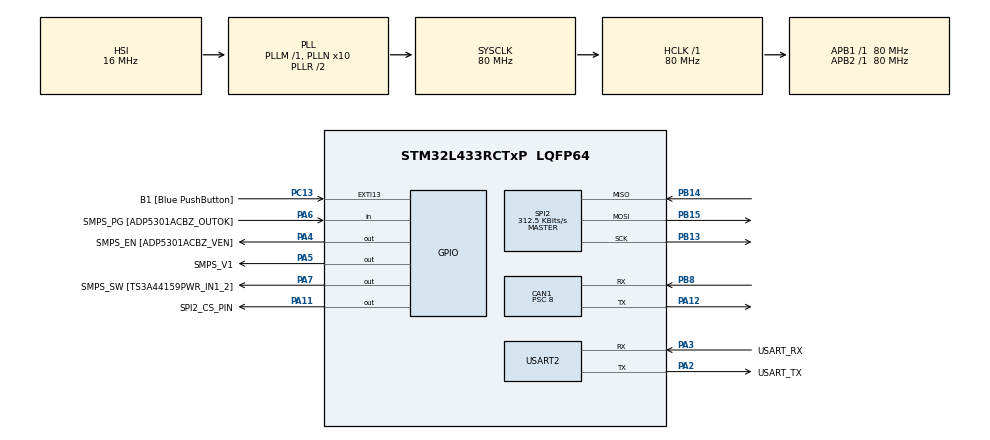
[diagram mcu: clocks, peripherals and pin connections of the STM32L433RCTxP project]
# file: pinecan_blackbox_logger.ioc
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CAN1.ABOM=ENABLE
CAN1.BS1=CAN_BS1_7TQ
CAN1.BS2=CAN_BS2_2TQ
CAN1.CalculateBaudRate=1000000
CAN1.CalculateTimeBit=1000
CAN1.CalculateTimeQuantum=100.0
CAN1.NART=ENABLE
CAN1.Prescaler=8
FATFS._FS_EXFAT=1
FATFS._FS_TINY=1
FATFS._USE_LFN=2
Mcu.Family=STM32L4
Mcu.Name=STM32L433RCTxP
Mcu.Package=LQFP64
NVIC.CAN1_RX0_IRQn=true\:0\:0\:false\:false\:true\:true\:true\:true
NVIC.PriorityGroup=NVIC_PRIORITYGROUP_4
PA11.GPIO_Label=SPI2_CS_PIN
PA11.Signal=GPIO_Output
PA12.Mode=CAN_Activate
PA12.Signal=CAN1_TX
PA13\ (JTMS-SWDIO).GPIO_Label=TMS
PA13\ (JTMS-SWDIO).Mode=Serial_Wire
PA13\ (JTMS-SWDIO).Signal=SYS_JTMS-SWDIO
PA14\ (JTCK-SWCLK).GPIO_Label=TCK
PA14\ (JTCK-SWCLK).Mode=Serial_Wire
PA14\ (JTCK-SWCLK).Signal=SYS_JTCK-SWCLK
PA2.GPIO_Label=USART_TX
PA2.GPIO_Mode=GPIO_MODE_AF_PP
PA2.GPIO_PuPd=GPIO_NOPULL
PA2.GPIO_Speed=GPIO_SPEED_FREQ_VERY_HIGH
PA2.Mode=Asynchronous
PA2.Signal=USART2_TX
PA3.GPIO_Label=USART_RX
PA3.GPIO_Mode=GPIO_MODE_AF_PP
PA3.GPIO_PuPd=GPIO_NOPULL
PA3.GPIO_Speed=GPIO_SPEED_FREQ_VERY_HIGH
PA3.Mode=Asynchronous
PA3.Signal=USART2_RX
PA4.GPIO_Label=SMPS_EN [ADP5301ACBZ_VEN]
PA4.Signal=GPIO_Output
PA5.GPIO_Label=SMPS_V1
PA5.GPIO_ModeDefaultOutputPP=GPIO_MODE_OUTPUT_PP
PA5.GPIO_PuPd=GPIO_NOPULL
PA5.GPIO_Speed=GPIO_SPEED_FREQ_LOW
PA5.Signal=GPIO_Output
PA6.GPIO_Label=SMPS_PG [ADP5301ACBZ_OUTOK]
PA6.GPIO_PuPd=GPIO_PULLUP
PA6.Signal=GPIO_Input
PA7.GPIO_Label=SMPS_SW [TS3A44159PWR_IN1_2]
PA7.Signal=GPIO_Output
PB13.Mode=Full_Duplex_Master
PB13.Signal=SPI2_SCK
PB14.Mode=Full_Duplex_Master
PB14.Signal=SPI2_MISO
PB15.Mode=Full_Duplex_Master
PB15.Signal=SPI2_MOSI
PB3\ (JTDO-TRACESWO).GPIO_Label=SWO
PB3\ (JTDO-TRACESWO).Signal=SYS_JTDO-SWO
PB8.Mode=CAN_Activate
PB8.Signal=CAN1_RX
PC13.GPIO_Label=B1 [Blue PushButton]
PC13.GPIO_ModeDefaultEXTI=GPIO_MODE_IT_FALLING
PC13.GPIO_PuPd=GPIO_NOPULL
PC13.Signal=GPXTI13
PC14-OSC32_IN\ (PC14).Mode=LSE-External-Oscillator
PC14-OSC32_IN\ (PC14).Signal=RCC_OSC32_IN
PC15-OSC32_OUT\ (PC15).Mode=LSE-External-Oscillator
PC15-OSC32_OUT\ (PC15).Signal=RCC_OSC32_OUT
PH0-OSC_IN\ (PH0).GPIO_Label=MCO
PH0-OSC_IN\ (PH0).Mode=HSE-External-Clock-Source
PH0-OSC_IN\ (PH0).Signal=RCC_OSC_IN
PH1-OSC_OUT\ (PH1).Signal=RCC_OSC_OUT
ProjectManager.HeapSize=0x200
ProjectManager.StackSize=0x400
ProjectManager.TargetToolchain=CMake
RCC.ADCFreq_Value=64000000
RCC.AHBFreq_Value=80000000
RCC.APB1Freq_Value=80000000
RCC.APB1TimFreq_Value=80000000
RCC.APB2Freq_Value=80000000
RCC.APB2TimFreq_Value=80000000
RCC.CortexFreq_Value=80000000
RCC.HCLKFreq_Value=80000000
RCC.HSE_VALUE=8000000
RCC.HSI48_VALUE=48000000
RCC.HSI_VALUE=16000000
RCC.MSI_VALUE=4000000
RCC.PLLN=10
RCC.PLLSourceVirtual=RCC_PLLSOURCE_HSI
RCC.PREFETCH_ENABLE=1
RCC.SYSCLKFreq_VALUE=80000000
RCC.SYSCLKSource=RCC_SYSCLKSOURCE_PLLCLK
RCC.USBFreq_Value=64000000
RCC.VCOOutputFreq_Value=160000000
SPI2.BaudRatePrescaler=SPI_BAUDRATEPRESCALER_256
SPI2.CalculateBaudRate=312.5 KBits/s
SPI2.DataSize=SPI_DATASIZE_8BIT
SPI2.Direction=SPI_DIRECTION_2LINES
SPI2.Mode=SPI_MODE_MASTER
SPI2.VirtualType=VM_MASTER
USART2.VirtualMode-Asynchronous=VM_ASYNC
VP_FATFS_VS_Generic.Mode=User_defined
board=NUCLEO-L433RC-P

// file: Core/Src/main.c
/* USER CODE BEGIN Header */
/**
  ******************************************************************************
  * @file           : main.c
  * @brief          : Main program body
  ******************************************************************************
  * @attention
  *
  * Copyright (c) 2026 STMicroelectronics.
  * All rights reserved.
  *
  * This software is licensed under terms that can be found in the LICENSE file
  * in the root directory of this software component.
  * If no LICENSE file comes with this software, it is provided AS-IS.
  *
  ******************************************************************************
  */
/* USER CODE END Header */
#include "main.h"
#include "fatfs.h"

/* USER CODE BEGIN Includes */
#include "blackbox_logger.h"
#include "can_receiver.h"
#include <stdint.h>

/* USER CODE END Includes */

/* USER CODE BEGIN PTD */

// FOR FUTURE: Could use g_fault_code to output viewable codes (LED blinks or something like that)
static volatile FaultCode g_fault_code = FAULT_NONE;
static volatile bool g_runtime_fault = false;

typedef enum {
  CAN_TEST_NOT_RUN = 0,
  CAN_TEST_WAITING_FOR_RX,
  CAN_TEST_PASSED,
  CAN_TEST_INIT_FAILED,
  CAN_TEST_TX_FAILED,
  CAN_TEST_RX_TIMEOUT,
  CAN_TEST_RX_OVERRUN,
  CAN_TEST_SD_FAILED,
  BLACKBOX_INIT_FAILED,
} CanTestStatus;

static volatile CanTestStatus g_can_test_status = CAN_TEST_NOT_RUN;

/* USER CODE END PTD */

/* USER CODE BEGIN PD */
#define CAN_TEST_FRAME_COUNT 1000U
#define CAN_TEST_PERIOD_MS 10U
#define CAN_TEST_TOTAL_TIMEOUT_MS (CAN_TEST_FRAME_COUNT * CAN_TEST_PERIOD_MS + 2000U)

/* USER CODE END PD */

CAN_HandleTypeDef hcan1;

SPI_HandleTypeDef hspi2;

UART_HandleTypeDef huart2;

/* USER CODE BEGIN PV */
static volatile uint32_t g_test_tx_count = 0;
static volatile bool g_test_tx_failed = false;
/* USER CODE END PV */

void SystemClock_Config(void);
static void MX_GPIO_Init(void);
static void MX_USART2_UART_Init(void);
static void MX_SPI2_Init(void);
static void MX_CAN1_Init(void);
/* USER CODE BEGIN PFP */
static void Recoverable_ErrorHandler(FaultCode fault);
void HAL_CAN_RxFifo0MsgPendingCallback(CAN_HandleTypeDef *hcan);
/* USER CODE END PFP */

/* USER CODE BEGIN 0 */
static void CanTest_StartTimer(void) {
    __HAL_RCC_TIM7_CLK_ENABLE();

    TIM7->CR1 = 0;
    TIM7->DIER = 0;

    // Current configuration: TIM7 clock = 80 MHz.
    // Divide to a 10 kHz counter, then interrupt every 10 ms.
    TIM7->PSC = 8000U - 1U;
    TIM7->ARR = CAN_TEST_PERIOD_MS * 10U - 1U;
    TIM7->CNT = 0;

    // Load the prescaler, then clear the resulting update flag.
    TIM7->EGR = TIM_EGR_UG;
    TIM7->SR = 0;

    // CAN RX currently has priority 0, so it can interrupt this handler.
    HAL_NVIC_SetPriority(TIM7_IRQn, 1, 0);
    HAL_NVIC_ClearPendingIRQ(TIM7_IRQn);
    HAL_NVIC_EnableIRQ(TIM7_IRQn);

    TIM7->DIER = TIM_DIER_UIE;
    TIM7->CR1 = TIM_CR1_CEN;
}

static void CanTest_StopTimer(void) {
    TIM7->DIER = 0;
    TIM7->CR1 = 0;
    HAL_NVIC_DisableIRQ(TIM7_IRQn);
    HAL_NVIC_ClearPendingIRQ(TIM7_IRQn);
}

void TIM7_IRQHandler(void) {
    if ((TIM7->SR & TIM_SR_UIF) == 0U) {
        return;
    }

    TIM7->SR = 0;

    if (g_test_tx_failed || g_test_tx_count >= CAN_TEST_FRAME_COUNT) {
      TIM7->DIER = 0;
      TIM7->CR1 = 0;
      return;
    }

    // Treat an unavailable mailbox as a test failure:
    // do not silently slow down the requested transmission rate.
    if (HAL_CAN_GetTxMailboxesFreeLevel(&hcan1) == 0U) {
        g_test_tx_failed = true;
        TIM7->DIER = 0;
        TIM7->CR1 = 0;
        return;
    }

    uint32_t sequence = g_test_tx_count;
    uint8_t data[8] = {
        (uint8_t)sequence,
        (uint8_t)(sequence >> 8),
        (uint8_t)(sequence >> 16),
        (uint8_t)(sequence >> 24),
        0, 0, 0, 0
    };

    CAN_TxHeaderTypeDef header = {0};
    uint32_t mailbox;

    header.StdId = 0x321U;
    header.IDE = CAN_ID_STD;
    header.RTR = CAN_RTR_DATA;
    header.DLC = sizeof(data);

    if (HAL_CAN_AddTxMessage(&hcan1, &header, data, &mailbox) != HAL_OK) {
        g_test_tx_failed = true;
        TIM7->DIER = 0;
        TIM7->CR1 = 0;
        return;
    }

    g_test_tx_count = sequence + 1U;
}
/* USER CODE END 0 */

int main(void)
{

  /* MCU Configuration--------------------------------------------------------*/

  /* Reset of all peripherals, Initializes the Flash interface and the Systick. */
  HAL_Init();

  /* Configure the system clock */
  SystemClock_Config();

  /* Initialize all configured peripherals */
  MX_GPIO_Init();
  MX_USART2_UART_Init();
  MX_SPI2_Init();
  MX_FATFS_Init();
  MX_CAN1_Init();
  /* USER CODE BEGIN 2 */

  if (!BlackboxLogger_Init("blackbox.bin")) {
    g_can_test_status = BLACKBOX_INIT_FAILED;
    Error_Handler();
  }

  if (!CanReceiver_Init()) {
    g_can_test_status = CAN_TEST_INIT_FAILED;
    Error_Handler();
  }

  /* USER CODE END 2 */

  /* Infinite loop */
  /* USER CODE BEGIN WHILE */
  g_test_tx_count = 0;
  g_test_tx_failed = false;
  g_can_test_status = CAN_TEST_WAITING_FOR_RX;

  uint32_t test_started = HAL_GetTick();
  CanTest_StartTimer();

  while (g_test_tx_count < CAN_TEST_FRAME_COUNT || CanReceiver_GetReceived() < CAN_TEST_FRAME_COUNT) {
    if (g_test_tx_failed) {
      g_can_test_status = CAN_TEST_TX_FAILED;
      break;
    }

    if (BlackboxLogger_HasStorageError() || BlackboxLogger_GetDroppedRecordCount() != 0U) {
      g_can_test_status = CAN_TEST_SD_FAILED;
      break;
    }

    if (CanReceiver_GetOverrun() != 0U) {
      g_can_test_status = CAN_TEST_RX_OVERRUN;
      break;
    }

    if ((uint32_t)(HAL_GetTick() - test_started) >= CAN_TEST_TOTAL_TIMEOUT_MS) {
      g_can_test_status = CAN_TEST_RX_TIMEOUT;
      break;
    }

    // Timer and CAN interrupts continue during this blocking write.
    BlackboxLogger_Service();
  }

  CanTest_StopTimer();

  if (g_can_test_status == CAN_TEST_WAITING_FOR_RX) {
    if (g_test_tx_failed) {
      g_can_test_status = CAN_TEST_TX_FAILED;
    } else if (CanReceiver_GetOverrun() != 0U) {
      g_can_test_status = CAN_TEST_RX_OVERRUN;
    } else if (!BlackboxLogger_Flush() ||
                BlackboxLogger_HasStorageError() ||
                BlackboxLogger_GetDroppedRecordCount() != 0U) {
      g_can_test_status = CAN_TEST_SD_FAILED;
    } else {
      g_can_test_status = CAN_TEST_PASSED;
    }
  }

  while (1)
  {
    if (BlackboxLogger_HasStorageError() && !g_runtime_fault) {
      Recoverable_ErrorHandler(FAULT_STORAGE);
    }
    /* USER CODE END WHILE */

  }
}

void SystemClock_Config(void)
{
  RCC_OscInitTypeDef RCC_OscInitStruct = {0};
  RCC_ClkInitTypeDef RCC_ClkInitStruct = {0};

  /** Configure the main internal regulator output voltage
  */
  if (HAL_PWREx_ControlVoltageScaling(PWR_REGULATOR_VOLTAGE_SCALE1) != HAL_OK)
  {
    Error_Handler();
  }

  /** Initializes the RCC Oscillators according to the specified parameters
  * in the RCC_OscInitTypeDef structure.
  */
  RCC_OscInitStruct.OscillatorType = RCC_OSCILLATORTYPE_HSI;
  RCC_OscInitStruct.HSIState = RCC_HSI_ON;
  RCC_OscInitStruct.HSICalibrationValue = RCC_HSICALIBRATION_DEFAULT;
  RCC_OscInitStruct.PLL.PLLState = RCC_PLL_ON;
  RCC_OscInitStruct.PLL.PLLSource = RCC_PLLSOURCE_HSI;
  RCC_OscInitStruct.PLL.PLLM = 1;
  RCC_OscInitStruct.PLL.PLLN = 10;
  RCC_OscInitStruct.PLL.PLLP = RCC_PLLP_DIV7;
  RCC_OscInitStruct.PLL.PLLQ = RCC_PLLQ_DIV2;
  RCC_OscInitStruct.PLL.PLLR = RCC_PLLR_DIV2;
  if (HAL_RCC_OscConfig(&RCC_OscInitStruct) != HAL_OK)
  {
    Error_Handler();
  }

  /** Initializes the CPU, AHB and APB buses clocks
  */
  RCC_ClkInitStruct.ClockType = RCC_CLOCKTYPE_HCLK|RCC_CLOCKTYPE_SYSCLK|RCC_CLOCKTYPE_PCLK1|RCC_CLOCKTYPE_PCLK2;
  RCC_ClkInitStruct.SYSCLKSource = RCC_SYSCLKSOURCE_PLLCLK;
  RCC_ClkInitStruct.AHBCLKDivider = RCC_SYSCLK_DIV1;
  RCC_ClkInitStruct.APB1CLKDivider = RCC_HCLK_DIV1;
  RCC_ClkInitStruct.APB2CLKDivider = RCC_HCLK_DIV1;

  if (HAL_RCC_ClockConfig(&RCC_ClkInitStruct, FLASH_LATENCY_4) != HAL_OK)
  {
    Error_Handler();
  }
}

static void MX_CAN1_Init(void)
{

  hcan1.Instance = CAN1;
  hcan1.Init.Prescaler = 8;
  hcan1.Init.Mode = CAN_MODE_LOOPBACK;
  hcan1.Init.SyncJumpWidth = CAN_SJW_1TQ;
  hcan1.Init.TimeSeg1 = CAN_BS1_7TQ;
  hcan1.Init.TimeSeg2 = CAN_BS2_2TQ;
  hcan1.Init.TimeTriggeredMode = DISABLE;
  hcan1.Init.AutoBusOff = ENABLE;
  hcan1.Init.AutoWakeUp = DISABLE;
  hcan1.Init.AutoRetransmission = ENABLE;
  hcan1.Init.ReceiveFifoLocked = DISABLE;
  hcan1.Init.TransmitFifoPriority = DISABLE;
  if (HAL_CAN_Init(&hcan1) != HAL_OK)
  {
    Error_Handler();
  }
}

static void MX_SPI2_Init(void)
{

  /* SPI2 parameter configuration*/
  hspi2.Instance = SPI2;
  hspi2.Init.Mode = SPI_MODE_MASTER;
  hspi2.Init.Direction = SPI_DIRECTION_2LINES;
  hspi2.Init.DataSize = SPI_DATASIZE_8BIT;
  hspi2.Init.CLKPolarity = SPI_POLARITY_LOW;
  hspi2.Init.CLKPhase = SPI_PHASE_1EDGE;
  hspi2.Init.NSS = SPI_NSS_SOFT;
  hspi2.Init.BaudRatePrescaler = SPI_BAUDRATEPRESCALER_256;
  hspi2.Init.FirstBit = SPI_FIRSTBIT_MSB;
  hspi2.Init.TIMode = SPI_TIMODE_DISABLE;
  hspi2.Init.CRCCalculation = SPI_CRCCALCULATION_DISABLE;
  hspi2.Init.CRCPolynomial = 7;
  hspi2.Init.CRCLength = SPI_CRC_LENGTH_DATASIZE;
  hspi2.Init.NSSPMode = SPI_NSS_PULSE_ENABLE;
  if (HAL_SPI_Init(&hspi2) != HAL_OK)
  {
    Error_Handler();
  }

}

static void MX_USART2_UART_Init(void)
{

  huart2.Instance = USART2;
  huart2.Init.BaudRate = 115200;
  huart2.Init.WordLength = UART_WORDLENGTH_8B;
  huart2.Init.StopBits = UART_STOPBITS_1;
  huart2.Init.Parity = UART_PARITY_NONE;
  huart2.Init.Mode = UART_MODE_TX_RX;
  huart2.Init.HwFlowCtl = UART_HWCONTROL_NONE;
  huart2.Init.OverSampling = UART_OVERSAMPLING_16;
  huart2.Init.OneBitSampling = UART_ONE_BIT_SAMPLE_DISABLE;
  huart2.AdvancedInit.AdvFeatureInit = UART_ADVFEATURE_NO_INIT;
  if (HAL_UART_Init(&huart2) != HAL_OK)
  {
    Error_Handler();
  }

}

static void MX_GPIO_Init(void)
{
  GPIO_InitTypeDef GPIO_InitStruct = {0};

  /* GPIO Ports Clock Enable */
  __HAL_RCC_GPIOC_CLK_ENABLE();
  __HAL_RCC_GPIOH_CLK_ENABLE();
  __HAL_RCC_GPIOA_CLK_ENABLE();
  __HAL_RCC_GPIOB_CLK_ENABLE();

  /*Configure GPIO pin Output Level */
  HAL_GPIO_WritePin(GPIOA, SMPS_EN_Pin|SMPS_V1_Pin|SMPS_SW_Pin|SPI2_CS_PIN_Pin, GPIO_PIN_RESET);

  /*Configure GPIO pin : B1_Pin */
  GPIO_InitStruct.Pin = B1_Pin;
  GPIO_InitStruct.Mode = GPIO_MODE_IT_FALLING;
  GPIO_InitStruct.Pull = GPIO_NOPULL;
  HAL_GPIO_Init(B1_GPIO_Port, &GPIO_InitStruct);

  /*Configure GPIO pins : SMPS_EN_Pin SMPS_V1_Pin SMPS_SW_Pin SPI2_CS_PIN_Pin */
  GPIO_InitStruct.Pin = SMPS_EN_Pin|SMPS_V1_Pin|SMPS_SW_Pin|SPI2_CS_PIN_Pin;
  GPIO_InitStruct.Mode = GPIO_MODE_OUTPUT_PP;
  GPIO_InitStruct.Pull = GPIO_NOPULL;
  GPIO_InitStruct.Speed = GPIO_SPEED_FREQ_LOW;
  HAL_GPIO_Init(GPIOA, &GPIO_InitStruct);

  /*Configure GPIO pin : SMPS_PG_Pin */
  GPIO_InitStruct.Pin = SMPS_PG_Pin;
  GPIO_InitStruct.Mode = GPIO_MODE_INPUT;
  GPIO_InitStruct.Pull = GPIO_PULLUP;
  HAL_GPIO_Init(SMPS_PG_GPIO_Port, &GPIO_InitStruct);

  /* USER CODE BEGIN MX_GPIO_Init_2 */
  HAL_GPIO_WritePin(SPI2_CS_PIN_GPIO_Port, SPI2_CS_PIN_Pin, GPIO_PIN_SET);
  /* USER CODE END MX_GPIO_Init_2 */
}

/* USER CODE BEGIN 4 */

/**
  * @brief  Records a recoverable runtime fault without stopping the MCU.
  * @param  fault Fault code to record.
  * @retval None
  */
static void Recoverable_ErrorHandler(FaultCode fault)
{
  g_fault_code = fault;
  g_runtime_fault = true;
}

/* USER CODE END 4 */

void Error_Handler(void)
{
  /* USER CODE BEGIN Error_Handler_Debug */
  /* User can add his own implementation to report the HAL error return state */
  // Temp value
  // Later we can add more definitions to the enum to specify errors/faults
  g_fault_code = FAULT_STARTUP;
  __disable_irq();
  while (1)
  {
  }
  /* USER CODE END Error_Handler_Debug */
}
